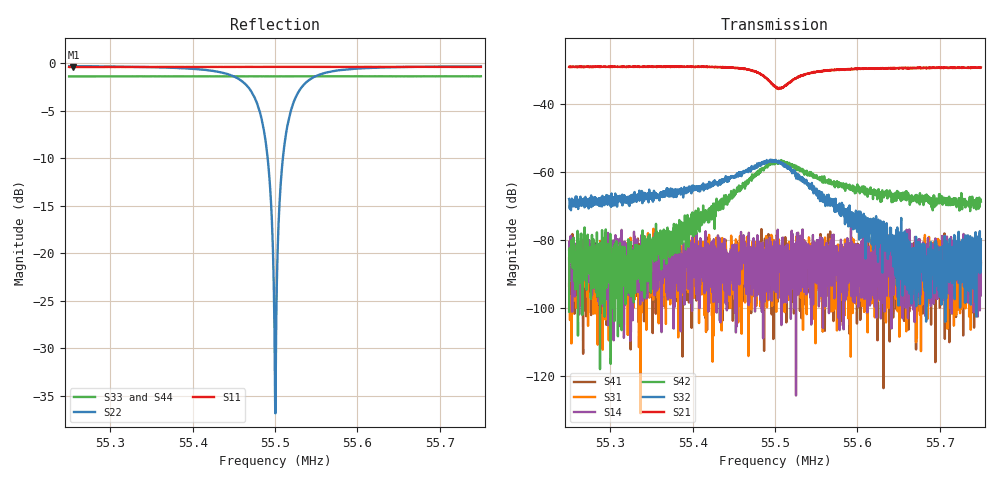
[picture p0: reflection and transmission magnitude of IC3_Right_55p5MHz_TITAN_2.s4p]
#  HZ  S  DB  R  50.00
! Rohde & Schwarz Vector Network Analyzer
! Rohde-Schwarz,ZNB8-4Port,1311601044102961,2.82
! Created: UTC 2/8/2019, 2:49:39 PM
! freq[Hz]  db:S11  ang:S11  db:S12  ang:S12  db:S13  ang:S13  db:S14  ang:S14
!  db:S21  ang:S21  db:S22  ang:S22  db:S23  ang:S23  db:S24  ang:S24
!  db:S31  ang:S31  db:S32  ang:S32  db:S33  ang:S33  db:S34  ang:S34
!  db:S41  ang:S41  db:S42  ang:S42  db:S43  ang:S43  db:S44  ang:S44
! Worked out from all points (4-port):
!   2001 points, 55.25 MHz to 55.75 MHz, reference 50 ohm
!   strongest paths, dB at 55.25 MHz, 55.375 MHz, 55.5 MHz, 55.625 MHz, 55.75 MHz:
!     S21: -29.1, -29.1, -34.8, -29.4, -29.2
!     S32: -68.0, -65.0, -56.6, -86.5, -79.8
!     S42: -101.1, -79.0, -57.1, -66.4, -68.7
!     S14: -82.9, -87.2, -81.2, -84.5, -86.3
!     S31: -93.5, -88.4, -82.3, -85.2, -86.3
!     S41: -85.5, -82.2, -86.4, -83.3, -86.9
!   lowest |S11| = -0.4 dB at 55.2552 MHz (marker M1), VSWR 45.28, Z = 1.85 + j40.9 ohm
!   |S11| at or under -10 dB: nowhere
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5.525e7  -0.38 101.4  -29.07 88.7  -94.89 -179.5  -82.88 -78.2
         -29.08 88.5  -0.29 -103.3  -69.10 -116.8  -80.66 -151.7
         -93.53 76.8  -67.95 -115.4  -1.37 41.6  -83.90 -52.3
         -85.51 -172.4  -101.13 76.1  -91.18 -111.6  -1.38 48.4
5.525525e7  -0.38 101.3  -28.97 88.0  -79.08 148.6  -90.86 111.5
            -29.02 88.8  -0.29 -103.7  -69.65 -126.0  -81.32 -112.2
            -84.19 161.7  -68.28 -134.7  -1.36 41.5  -84.77 -38.0
            -83.36 -168.0  -83.40 -32.8  -84.70 -49.2  -1.38 48.3
5.5468e7  -0.36 97.5  -29.87 63.9  -85.05 76.5  -99.22 4.5
          -29.89 64.8  -2.56 -149.7  -59.35 -164.1  -62.97 16.8
          -84.29 -4.0  -58.87 -159.5  -1.36 38.9  -81.43 -2.0
          -94.23 -59.5  -63.29 16.7  -89.47 -118.9  -1.37 45.7
5.549025e7  -0.36 97.1  -32.47 57.1  -87.99 -53.8  -83.38 -43.4
            -32.63 56.9  -9.31 178.2  -57.09 167.2  -58.39 -16.6
            -99.87 117.5  -56.85 168.0  -1.36 38.6  -84.45 -46.7
            -97.72 -173.7  -58.38 -15.4  -107.96 -131.4  -1.37 45.4
5.550025e7  -0.36 96.9  -34.84 66.3  -87.07 -79.8  -87.26 80.8
            -34.82 66.1  -36.60 85.6  -56.78 149.3  -56.58 -34.6
            -84.19 76.5  -57.02 149.8  -1.36 38.5  -87.79 121.6
            -96.96 -160.3  -57.28 -36.1  -95.73 91.0  -1.37 45.3
5.553275e7  -0.36 96.3  -31.57 95.8  -88.25 60.3  -89.48 30.2
            -31.52 95.8  -2.46 -73.0  -62.32 95.1  -59.33 -88.3
            -84.58 -45.1  -62.52 98.3  -1.36 38.1  -88.36 83.3
            -92.43 64.9  -59.54 -87.6  -86.28 172.3  -1.37 44.9
5.575e7  -0.36 92.4  -29.26 76.1  -104.86 60.5  -86.31 -179.2
         -29.22 76.1  -0.31 -120.0  -83.77 -119.4  -68.19 -138.8
         -86.31 67.1  -79.80 -155.9  -1.35 35.5  -88.24 167.7
         -86.91 65.9  -68.67 -123.9  -92.66 -64.6  -1.37 42.3
